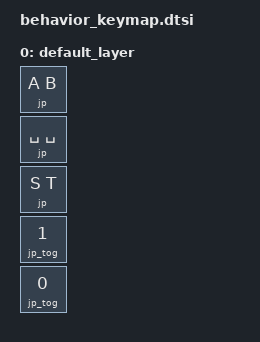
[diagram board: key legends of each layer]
#include <dt-bindings/zmk/keys.h>
#include <behaviors.dtsi>
#include <behaviors/japanese_input.dtsi>
#include <dt-bindings/zmk/kscan_mock.h>

/ {
    keymap {
        compatible = "zmk,keymap";
        default_layer {
            bindings = <
                &jp A B
                &jp SPACE SPACE
                &jp S T
                &jp_tog 1
                &jp_tog 0
            >;
        };
    };
};
